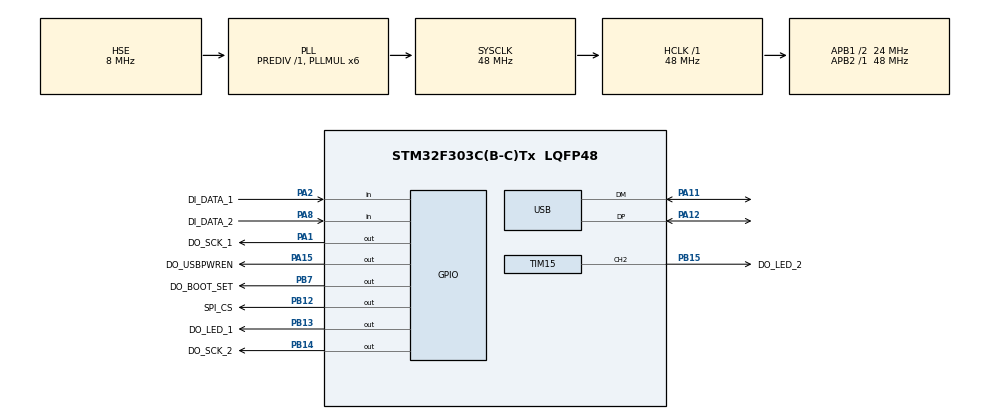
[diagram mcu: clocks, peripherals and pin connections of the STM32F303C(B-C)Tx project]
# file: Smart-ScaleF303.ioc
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ADC1.Channel-14\#ChannelRegularConversion=ADC_CHANNEL_TEMPSENSOR
ADC1.ClockPrescaler=ADC_CLOCK_SYNC_PCLK_DIV2
ADC1.ContinuousConvMode=ENABLE
ADC1.DMAContinuousRequests=ENABLE
ADC1.NbrOfConversionFlag=1
ADC1.Offset-14\#ChannelRegularConversion=0
ADC1.OffsetNumber-14\#ChannelRegularConversion=ADC_OFFSET_NONE
ADC1.Rank-14\#ChannelRegularConversion=1
ADC1.SamplingTime-14\#ChannelRegularConversion=ADC_SAMPLETIME_4CYCLES_5
ADC1.master=1
Mcu.Family=STM32F3
Mcu.Name=STM32F303C(B-C)Tx
Mcu.Package=LQFP48
NVIC.PriorityGroup=NVIC_PRIORITYGROUP_4
NVIC.USB_LP_CAN_RX0_IRQn=true\:0\:0\:false\:false\:true
PA1.GPIO_Label=DO_SCK_1
PA1.Signal=GPIO_Output
PA11.Mode=Device
PA11.Signal=USB_DM
PA12.Mode=Device
PA12.Signal=USB_DP
PA15.GPIO_Label=DO_USBPWREN
PA15.Signal=GPIO_Output
PA2.GPIO_Label=DI_DATA_1
PA2.Signal=GPIO_Input
PA8.GPIO_Label=DI_DATA_2
PA8.Signal=GPIO_Input
PB12.GPIO_Label=SPI_CS
PB12.Signal=GPIO_Output
PB13.GPIO_Label=DO_LED_1
PB13.Signal=GPIO_Output
PB14.GPIO_Label=DO_SCK_2
PB14.Signal=GPIO_Output
PB15.GPIO_Label=DO_LED_2
PB15.Signal=S_TIM15_CH2
PB7.GPIO_Label=DO_BOOT_SET
PB7.Signal=GPIO_Output
PF0-OSC_IN.Mode=HSE-External-Oscillator
PF0-OSC_IN.Signal=RCC_OSC_IN
PF1-OSC_OUT.Mode=HSE-External-Oscillator
PF1-OSC_OUT.Signal=RCC_OSC_OUT
ProjectManager.HeapSize=0x200
ProjectManager.StackSize=0x400
ProjectManager.TargetToolchain=TrueSTUDIO
RCC.AHBFreq_Value=48000000
RCC.APB1CLKDivider=RCC_HCLK_DIV2
RCC.APB1Freq_Value=24000000
RCC.APB1TimFreq_Value=48000000
RCC.APB2Freq_Value=48000000
RCC.APB2TimFreq_Value=48000000
RCC.CortexFreq_Value=48000000
RCC.HCLKFreq_Value=48000000
RCC.HSE_VALUE=8000000
RCC.HSI_VALUE=8000000
RCC.LSE_VALUE=32768
RCC.PLLMUL=RCC_PLL_MUL6
RCC.SYSCLKFreq_VALUE=48000000
RCC.SYSCLKSourceVirtual=RCC_SYSCLKSOURCE_PLLCLK
RCC.USBFreq_Value=48000000
SH.S_TIM15_CH2.0=TIM15_CH2,PWM Generation2 CH2
TIM15.AutomaticOutput=TIM_AUTOMATICOUTPUT_DISABLE
TIM15.Channel-PWM\ Generation2\ CH2=TIM_CHANNEL_2
TIM15.OCIdleState_2=TIM_OCIDLESTATE_RESET
TIM15.Period=255
TIM15.Prescaler=30000
TIM15.Pulse-PWM\ Generation2\ CH2=100
USB_DEVICE.CLASS_NAME_FS=CDC
USB_DEVICE.USBD_HandleTypeDef=hUsbDeviceFS
USB_DEVICE.VirtualMode=Cdc
USB_DEVICE.VirtualModeFS=Cdc_FS
VP_ADC1_TempSens_Input.Mode=IN-TempSens
VP_USB_DEVICE_VS_USB_DEVICE_CDC_FS.Mode=CDC_FS
board=Smart-ScaleF303

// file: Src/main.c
/**
  ******************************************************************************
  * File Name          : main.c
  * Description        : Main program body
  ******************************************************************************
  *
  * COPYRIGHT(c) 2016 STMicroelectronics
  *
  * Redistribution and use in source and binary forms, with or without modification,
  * are permitted provided that the following conditions are met:
  *   1. Redistributions of source code must retain the above copyright notice,
  *      this list of conditions and the following disclaimer.
  *   2. Redistributions in binary form must reproduce the above copyright notice,
  *      this list of conditions and the following disclaimer in the documentation
  *      and/or other materials provided with the distribution.
  *   3. Neither the name of STMicroelectronics nor the names of its contributors
  *      may be used to endorse or promote products derived from this software
  *      without specific prior written permission.
  *
  * THIS SOFTWARE IS PROVIDED BY THE COPYRIGHT HOLDERS AND CONTRIBUTORS "AS IS"
  * AND ANY EXPRESS OR IMPLIED WARRANTIES, INCLUDING, BUT NOT LIMITED TO, THE
  * IMPLIED WARRANTIES OF MERCHANTABILITY AND FITNESS FOR A PARTICULAR PURPOSE ARE
  * DISCLAIMED. IN NO EVENT SHALL THE COPYRIGHT HOLDER OR CONTRIBUTORS BE LIABLE
  * FOR ANY DIRECT, INDIRECT, INCIDENTAL, SPECIAL, EXEMPLARY, OR CONSEQUENTIAL
  * DAMAGES (INCLUDING, BUT NOT LIMITED TO, PROCUREMENT OF SUBSTITUTE GOODS OR
  * SERVICES; LOSS OF USE, DATA, OR PROFITS; OR BUSINESS INTERRUPTION) HOWEVER
  * CAUSED AND ON ANY THEORY OF LIABILITY, WHETHER IN CONTRACT, STRICT LIABILITY,
  * OR TORT (INCLUDING NEGLIGENCE OR OTHERWISE) ARISING IN ANY WAY OUT OF THE USE
  * OF THIS SOFTWARE, EVEN IF ADVISED OF THE POSSIBILITY OF SUCH DAMAGE.
  *
  ******************************************************************************
  */
#include "stm32f3xx_hal.h"
#include "usb_device.h"

/* USER CODE BEGIN Includes */
#include "commands.h"
/* USER CODE END Includes */

ADC_HandleTypeDef hadc1;

TIM_HandleTypeDef htim15;

/* USER CODE BEGIN PV */
/* Private variables ---------------------------------------------------------*/

/* USER CODE END PV */

void SystemClock_Config(void);
void Error_Handler(void);
static void MX_GPIO_Init(void);
static void MX_TIM15_Init(void);
static void MX_ADC1_Init(void);

void HAL_TIM_MspPostInit(TIM_HandleTypeDef *htim);

/* USER CODE BEGIN PFP */
/* Private function prototypes -----------------------------------------------*/

/* USER CODE END PFP */

int main(void)
{

  /* MCU Configuration----------------------------------------------------------*/

  /* Reset of all peripherals, Initializes the Flash interface and the Systick. */
  HAL_Init();

  /* Configure the system clock */
  SystemClock_Config();

  /* Initialize all configured peripherals */
  MX_GPIO_Init();
  HAL_Delay(1000);
  MX_USB_DEVICE_Init();
  MX_TIM15_Init();
  MX_ADC1_Init();

  /* USER CODE BEGIN 2 */
	HAL_TIM_PWM_Start(&htim15, TIM_CHANNEL_2);

	int empty[] = {0,0,0,0,0,0,0,0,0,0};

	//IC3
	hx1.gpioSck = DO_SCK_1_GPIO_Port;
	hx1.gpioData = DI_DATA_1_GPIO_Port;
	hx1.pinSck = DO_SCK_1_Pin;
	hx1.pinData = DI_DATA_1_Pin;
	hx1.gain = 3;
	hx1.offsetA = 0;
	hx1.offsetB = 0;
	hx1.readingA = 0;
	hx1.readingB = 0;
	memcpy(hx1.historyA, empty, sizeof hx1.historyA);
	memcpy(hx1.historyB, empty, sizeof hx1.historyB);
	HX711_Init(hx1);

	//IC2
	hx2.gpioSck = DO_SCK_2_GPIO_Port;
	hx2.gpioData = DI_DATA_2_GPIO_Port;
	hx2.pinSck = DO_SCK_2_Pin;
	hx2.pinData = DI_DATA_2_Pin;
	hx2.gain = 3;
	hx2.offsetA = 0;
	hx2.offsetB = 0;
	hx2.readingA = 0;
	hx2.readingB = 0;
	memcpy(hx2.historyA, empty, sizeof hx2.historyA);
	memcpy(hx2.historyB, empty, sizeof hx2.historyB);
	HX711_Init(hx2);
	readFlash();

	iTare = 1;
  /* USER CODE END 2 */

  /* Infinite loop */
  while (1)
  {

  /* USER CODE BEGIN 3 */
	  if(iDFU)
	  {
		HAL_GPIO_WritePin(DO_BOOT_SET_GPIO_Port, DO_BOOT_SET_Pin, GPIO_PIN_SET);
		HAL_Delay(1000);
		NVIC_SystemReset();
	  }

	  if (iTare)
	  {
		HX711_Average_Value(hx1, 100);
		HX711_Average_Value(hx2, 100);

		hx1.offsetA = HX711_Average_Value(hx1, 20);
		hx2.offsetA = HX711_Average_Value(hx2, 20);

		hx1.gain = 2;
		hx2.gain = 2;

		HX711_Average_Value(hx1, 100);
		HX711_Average_Value(hx2, 100);

		hx1.offsetB = HX711_Average_Value(hx1, 20);
		hx2.offsetB = HX711_Average_Value(hx2, 20);
		iTare = 0;
	  }
	  else
	  {
		  hx1.gain = 2;
		  hx2.gain = 2;
		  HX711_Average_Value(hx1, 1);
		  HX711_Average_Value(hx2, 1);
		  hx1.readingB = (-(HX711_Average_Value(hx1, 2) - hx1.offsetB) * ((float)iCalibration/100))/1000;
		  hx2.readingB = (-(HX711_Average_Value(hx2, 2) - hx2.offsetB) * ((float)iCalibration/100))/1000;
		  hx1.gain = 3;
		  hx2.gain = 3;
		  HX711_Average_Value(hx1, 1);
		  HX711_Average_Value(hx2, 1);
		  hx1.readingA = (-(HX711_Average_Value(hx1, 2) - hx1.offsetA) * ((float)iCalibration/100))/2000;
		  hx2.readingA = (-(HX711_Average_Value(hx2, 2) - hx2.offsetA) * ((float)iCalibration/100))/2000;
		  HX711_Process_Values();

	  }

	  HAL_GPIO_TogglePin(DO_LED_1_GPIO_Port, DO_LED_1_Pin);

  }
  /* USER CODE END 3 */

}

/** System Clock Configuration
*/
void SystemClock_Config(void)
{

  RCC_OscInitTypeDef RCC_OscInitStruct;
  RCC_ClkInitTypeDef RCC_ClkInitStruct;
  RCC_PeriphCLKInitTypeDef PeriphClkInit;

  RCC_OscInitStruct.OscillatorType = RCC_OSCILLATORTYPE_HSE;
  RCC_OscInitStruct.HSEState = RCC_HSE_ON;
  RCC_OscInitStruct.HSEPredivValue = RCC_HSE_PREDIV_DIV1;
  RCC_OscInitStruct.HSIState = RCC_HSI_ON;
  RCC_OscInitStruct.PLL.PLLState = RCC_PLL_ON;
  RCC_OscInitStruct.PLL.PLLSource = RCC_PLLSOURCE_HSE;
  RCC_OscInitStruct.PLL.PLLMUL = RCC_PLL_MUL6;
  if (HAL_RCC_OscConfig(&RCC_OscInitStruct) != HAL_OK)
  {
    Error_Handler();
  }

  RCC_ClkInitStruct.ClockType = RCC_CLOCKTYPE_HCLK|RCC_CLOCKTYPE_SYSCLK
                              |RCC_CLOCKTYPE_PCLK1|RCC_CLOCKTYPE_PCLK2;
  RCC_ClkInitStruct.SYSCLKSource = RCC_SYSCLKSOURCE_PLLCLK;
  RCC_ClkInitStruct.AHBCLKDivider = RCC_SYSCLK_DIV1;
  RCC_ClkInitStruct.APB1CLKDivider = RCC_HCLK_DIV2;
  RCC_ClkInitStruct.APB2CLKDivider = RCC_HCLK_DIV1;
  if (HAL_RCC_ClockConfig(&RCC_ClkInitStruct, FLASH_LATENCY_1) != HAL_OK)
  {
    Error_Handler();
  }

  PeriphClkInit.PeriphClockSelection = RCC_PERIPHCLK_USB;
  PeriphClkInit.USBClockSelection = RCC_USBCLKSOURCE_PLL;
  if (HAL_RCCEx_PeriphCLKConfig(&PeriphClkInit) != HAL_OK)
  {
    Error_Handler();
  }

  HAL_SYSTICK_Config(HAL_RCC_GetHCLKFreq()/1000);

  HAL_SYSTICK_CLKSourceConfig(SYSTICK_CLKSOURCE_HCLK);

  /* SysTick_IRQn interrupt configuration */
  HAL_NVIC_SetPriority(SysTick_IRQn, 0, 0);
}

/* ADC1 init function */
static void MX_ADC1_Init(void)
{

  ADC_ChannelConfTypeDef sConfig;

    /**Common config
    */
  hadc1.Instance = ADC1;
  hadc1.Init.ClockPrescaler = ADC_CLOCK_SYNC_PCLK_DIV2;
  hadc1.Init.Resolution = ADC_RESOLUTION_12B;
  hadc1.Init.ScanConvMode = ADC_SCAN_DISABLE;
  hadc1.Init.ContinuousConvMode = ENABLE;
  hadc1.Init.DiscontinuousConvMode = DISABLE;
  hadc1.Init.ExternalTrigConvEdge = ADC_EXTERNALTRIGCONVEDGE_NONE;
  hadc1.Init.DataAlign = ADC_DATAALIGN_RIGHT;
  hadc1.Init.NbrOfConversion = 1;
  hadc1.Init.DMAContinuousRequests = ENABLE;
  hadc1.Init.EOCSelection = ADC_EOC_SINGLE_CONV;
  hadc1.Init.LowPowerAutoWait = DISABLE;
  hadc1.Init.Overrun = ADC_OVR_DATA_OVERWRITTEN;
  if (HAL_ADC_Init(&hadc1) != HAL_OK)
  {
    Error_Handler();
  }

    /**Configure Regular Channel
    */
  sConfig.Channel = ADC_CHANNEL_TEMPSENSOR;
  sConfig.Rank = 1;
  sConfig.SingleDiff = ADC_SINGLE_ENDED;
  sConfig.SamplingTime = ADC_SAMPLETIME_4CYCLES_5;
  sConfig.OffsetNumber = ADC_OFFSET_NONE;
  sConfig.Offset = 0;
  if (HAL_ADC_ConfigChannel(&hadc1, &sConfig) != HAL_OK)
  {
    Error_Handler();
  }

}

/* TIM15 init function */
static void MX_TIM15_Init(void)
{

  TIM_MasterConfigTypeDef sMasterConfig;
  TIM_OC_InitTypeDef sConfigOC;
  TIM_BreakDeadTimeConfigTypeDef sBreakDeadTimeConfig;

  htim15.Instance = TIM15;
  htim15.Init.Prescaler = 30000;
  htim15.Init.CounterMode = TIM_COUNTERMODE_UP;
  htim15.Init.Period = 255;
  htim15.Init.ClockDivision = TIM_CLOCKDIVISION_DIV1;
  htim15.Init.RepetitionCounter = 0;
  if (HAL_TIM_PWM_Init(&htim15) != HAL_OK)
  {
    Error_Handler();
  }

  sMasterConfig.MasterOutputTrigger = TIM_TRGO_RESET;
  sMasterConfig.MasterSlaveMode = TIM_MASTERSLAVEMODE_DISABLE;
  if (HAL_TIMEx_MasterConfigSynchronization(&htim15, &sMasterConfig) != HAL_OK)
  {
    Error_Handler();
  }

  sConfigOC.OCMode = TIM_OCMODE_PWM1;
  sConfigOC.Pulse = 100;
  sConfigOC.OCPolarity = TIM_OCPOLARITY_HIGH;
  sConfigOC.OCNPolarity = TIM_OCNPOLARITY_HIGH;
  sConfigOC.OCFastMode = TIM_OCFAST_DISABLE;
  sConfigOC.OCIdleState = TIM_OCIDLESTATE_RESET;
  sConfigOC.OCNIdleState = TIM_OCNIDLESTATE_RESET;
  if (HAL_TIM_PWM_ConfigChannel(&htim15, &sConfigOC, TIM_CHANNEL_2) != HAL_OK)
  {
    Error_Handler();
  }

  sBreakDeadTimeConfig.OffStateIDLEMode = TIM_OSSI_DISABLE;
  sBreakDeadTimeConfig.LockLevel = TIM_LOCKLEVEL_OFF;
  sBreakDeadTimeConfig.DeadTime = 0;
  sBreakDeadTimeConfig.BreakState = TIM_BREAK_DISABLE;
  sBreakDeadTimeConfig.BreakPolarity = TIM_BREAKPOLARITY_HIGH;
  sBreakDeadTimeConfig.BreakFilter = 0;
  sBreakDeadTimeConfig.AutomaticOutput = TIM_AUTOMATICOUTPUT_DISABLE;
  if (HAL_TIMEx_ConfigBreakDeadTime(&htim15, &sBreakDeadTimeConfig) != HAL_OK)
  {
    Error_Handler();
  }

  HAL_TIM_MspPostInit(&htim15);

}

/** Configure pins as
        * Analog
        * Input
        * Output
        * EVENT_OUT
        * EXTI
*/
static void MX_GPIO_Init(void)
{

  GPIO_InitTypeDef GPIO_InitStruct;

  /* GPIO Ports Clock Enable */
  __HAL_RCC_GPIOF_CLK_ENABLE();
  __HAL_RCC_GPIOA_CLK_ENABLE();
  __HAL_RCC_GPIOB_CLK_ENABLE();

  /*Configure GPIO pin Output Level */
  HAL_GPIO_WritePin(GPIOA, DO_SCK_1_Pin|DO_USBPWREN_Pin, GPIO_PIN_RESET);

  /*Configure GPIO pin Output Level */
  HAL_GPIO_WritePin(GPIOB, SPI_CS_Pin|DO_LED_1_Pin|DO_SCK_2_Pin|DO_BOOT_SET_Pin, GPIO_PIN_RESET);

  /*Configure GPIO pins : DO_SCK_1_Pin DO_USBPWREN_Pin */
  GPIO_InitStruct.Pin = DO_SCK_1_Pin|DO_USBPWREN_Pin;
  GPIO_InitStruct.Mode = GPIO_MODE_OUTPUT_PP;
  GPIO_InitStruct.Pull = GPIO_NOPULL;
  GPIO_InitStruct.Speed = GPIO_SPEED_FREQ_LOW;
  HAL_GPIO_Init(GPIOA, &GPIO_InitStruct);

  /*Configure GPIO pins : DI_DATA_1_Pin DI_DATA_2_Pin */
  GPIO_InitStruct.Pin = DI_DATA_1_Pin|DI_DATA_2_Pin;
  GPIO_InitStruct.Mode = GPIO_MODE_INPUT;
  GPIO_InitStruct.Pull = GPIO_NOPULL;
  HAL_GPIO_Init(GPIOA, &GPIO_InitStruct);

  /*Configure GPIO pins : SPI_CS_Pin DO_LED_1_Pin DO_SCK_2_Pin DO_BOOT_SET_Pin */
  GPIO_InitStruct.Pin = SPI_CS_Pin|DO_LED_1_Pin|DO_SCK_2_Pin|DO_BOOT_SET_Pin;
  GPIO_InitStruct.Mode = GPIO_MODE_OUTPUT_PP;
  GPIO_InitStruct.Pull = GPIO_NOPULL;
  GPIO_InitStruct.Speed = GPIO_SPEED_FREQ_LOW;
  HAL_GPIO_Init(GPIOB, &GPIO_InitStruct);

}

void Error_Handler(void)
{
  while(1)
  {
  }
}

/************************ (C) COPYRIGHT STMicroelectronics *****END OF FILE****/
